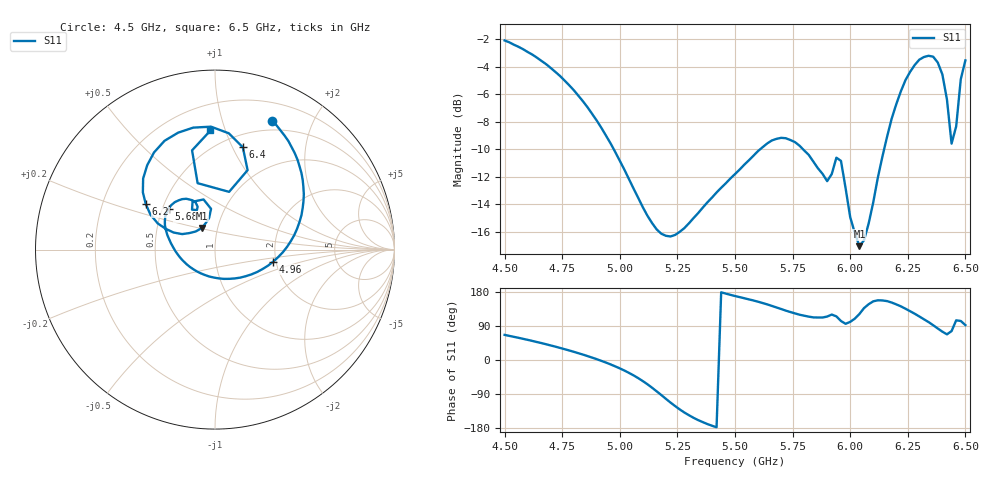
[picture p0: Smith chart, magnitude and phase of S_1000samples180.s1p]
! TOUCHSTONE file generated by CST MICROWAVE STUDIO
! Date and time: Thu Oct 27 06:54:23 2022
! Project name: L.cst
! Parameters = {Di=1.27; Epsilon_r=1.56; InnerDiameter=1.27; Length=2; Lf=10; Lg=60; OuterConductorThickness=0.2921; OuterDiameter=3.6; Wf=3; Wp=41.2; de=1.5; df=6.8; g=0.8; gx=3.32691; gy=2.20685; h=2.34; hf=1.524; px=14.7072; py=9.94185; w=9.7; wx=11.3803; wy=7.735}
! Header version: 2018
! Port assignment regex: !\s*Touchstone port\s*([0-9]+)\s*=\s*(CST MWS port|CST DS port)\s*([0-9]+|Zmin|Zmax)\s*\(\"(.*)\"\)(\s*mode\s*([0-9]+))?.*
! Touchstone port assignment:
! Touchstone port 1 = CST MWS port 1 ("")
# GHz S DB R 50
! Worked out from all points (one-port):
!   101 points, 4.5 GHz to 6.5 GHz, reference 50 ohm
!   lowest |S11| = -17.0 dB at 6.04 GHz (marker M1), VSWR 1.33, Z = 42 + j10.3 ohm
!   |S11| at or under -10 dB: 4.973 GHz to 5.61 GHz (636.4 MHz wide, 12 % of centre); 5.795 GHz to 6.147 GHz (352.8 MHz wide, 5.91 % of centre)
!   S11 on the Smith chart (normalised r, x): 4.5 GHz: 0.39, +1.46; 4.96 GHz: 1.93, -0.29; 5.68 GHz: 0.54, +0.28; 6.2 GHz: 0.40, +0.25; 6.4 GHz: 0.63, +1.10; 6.5 GHz: 0.37, +0.89
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4.5  -2.11 66.3
4.64  -3.35 47.5
4.76  -5.01 28.6
4.86  -6.96 10.3
4.96  -9.59 -11.6
5  -10.85 -22.1
5.16  -15.83 -82.7
5.26  -16.00 -130.4
5.5  -11.81 168.8
5.68  -9.25 138.6
5.76  -9.49 123.1
5.9  -12.32 114.7
5.94  -10.62 115.1
5.96  -10.85 102.9
6  -14.94 100.6
6.04  -17.05 121.4
6.08  -15.41 147.2
6.12  -12.07 157.6
6.2  -6.73 146.8
6.26  -4.39 128.7
6.34  -3.22 100.1
6.36  -3.28 91.9
6.4  -4.57 74.8
6.42  -6.40 67.7
6.44  -9.60 76.3
6.46  -8.35 104.7
6.48  -4.92 103.0
6.5  -3.55 92.2
